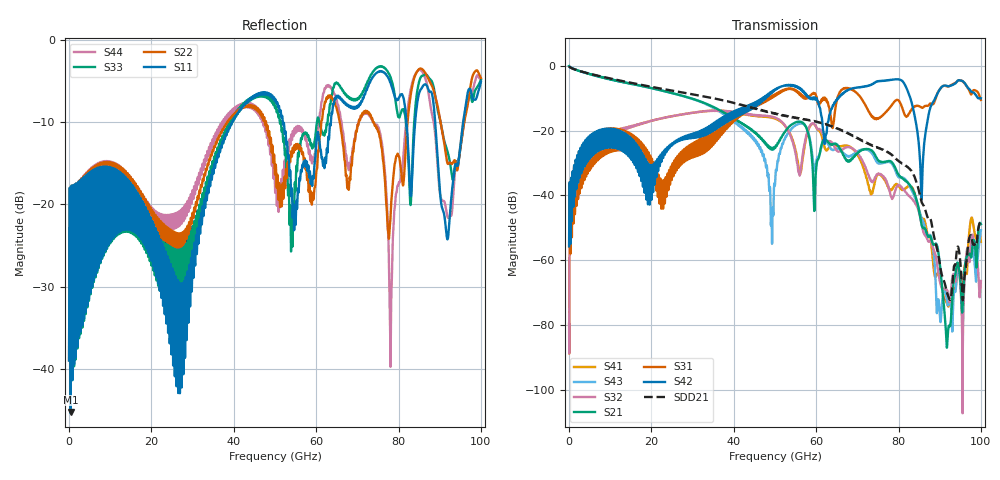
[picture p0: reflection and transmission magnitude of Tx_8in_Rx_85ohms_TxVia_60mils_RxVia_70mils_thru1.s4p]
! Info: Touchstone file created by Circ.  Input file=Tx_8in_Rx_85ohms_TxVia_60mils_RxVia_70mils.circ
# Hz S RI R 50
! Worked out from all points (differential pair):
!   10000 points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, 10 MHz to 100 GHz, reference 50 ohm
!   strongest paths, dB at 10 MHz, 25.01 GHz, 50.01 GHz, 75.01 GHz, 100 GHz:
!     S42: -55.7, -24.1, -7.2, -4.7, -10.0
!     S31: -55.7, -32.6, -8.8, -16.4, -10.5
!     S21: -0.1, -8.4, -25.4, -29.0, -48.9
!     S32: -79.7, -15.5, -15.9, -33.3, -66.4
!     S43: -0.1, -8.4, -36.6, -30.0, -50.8
!     S41: -79.7, -15.5, -16.3, -33.5, -54.3
!   taken as a pair (ports 1,3 in; 2,4 out), SDD21 dB: -0.1, -7.6, -14.8, -25.3, -48.3
!   lowest |S11| = -45.3 dB at 400 MHz (marker M1), VSWR 1.01, Z = 49.5 + j0.0157 ohm
!   |S11| at or under -10 dB: start of sweep to 39.58 GHz; 51.91 GHz to 63.56 GHz (11.66 GHz wide, 20.2 % of centre); 88.91 GHz to 95.7 GHz (6.794 GHz wide, 7.36 % of centre) (the widest 3 of 4)
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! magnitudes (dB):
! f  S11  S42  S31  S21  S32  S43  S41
! 10 MHz  -39.0  -55.7  -55.7  -0.1  -79.7  -0.1  -79.7
! 400 MHz  -45.3  -39.7  -39.7  -0.5  -44.4  -0.5  -44.4
! 48.56 GHz  -6.5  -9.1  -10.4  -25.3  -15.5  -37.5  -15.8
! 78.35 GHz  -5.7  -4.3  -12.1  -29.7  -40.9  -30.1  -38.2
! 85.57 GHz  -5.9  -41.2  -12.8  -48.9  -48.7  -46.9  -47.1
! 91.88 GHz  -24.2  -6.2  -6.4  -84.7  -69.5  -73.6  -73.7
! 100 GHz  -5.1  -10.0  -10.5  -48.9  -66.4  -50.8  -54.3
